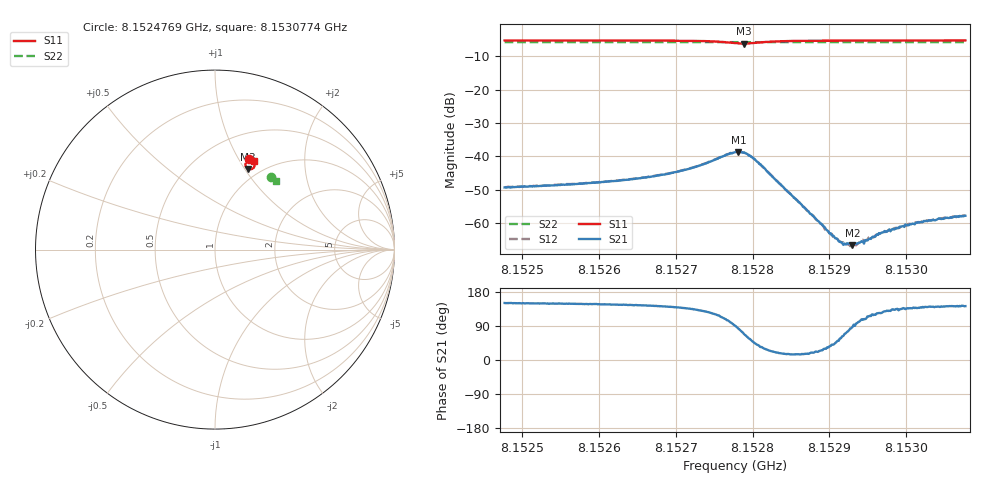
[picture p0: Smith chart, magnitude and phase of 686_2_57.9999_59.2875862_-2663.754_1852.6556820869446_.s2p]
#  HZ  S  RI  R  50.00
! Rohde & Schwarz Vector Network Analyzer
! Rohde-Schwarz,ZNB20-2Port,1311601062101988,3.16
! Created: UTC 3/21/2024, 1:21:04 AM
! freq[Hz]  re:S11  im:S11  re:S21  im:S21  re:S12  im:S12  re:S22  im:S22
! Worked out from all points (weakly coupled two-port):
!   401 points, 8.1524769 GHz to 8.1530774 GHz, reference 50 ohm
!   highest |S21| = -38.62 dB at 8.1527816 GHz (marker M1); lowest = -66.6 dB at 8.1529302 GHz (marker M2)
!   lowest |S11| = -6.3 dB at 8.1527891 GHz (marker M3), VSWR 2.89, Z = 44 + j51.8 ohm
!   |S11| at or under -10 dB: nowhere
!   |S22| runs from -5.9 to -5.8 dB; largest |S21 - S12| = 0.00039
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8.1524769e9  0.1894 0.5063  -0.003 0.00171  -0.00299 0.00176  0.31 0.4065
8.15257748e9  0.1984 0.5027  -0.00333 0.00207  -0.00332 0.00213  0.3152 0.4024
8.15263752e9  0.2047 0.4994  -0.00368 0.00259  -0.00369 0.00264  0.3181 0.3998
8.15267805e9  0.2098 0.4959  -0.00412 0.00319  -0.00411 0.0033  0.3201 0.3981
8.15272309e9  0.2176 0.4871  -0.00473 0.00495  -0.0047 0.00504  0.3224 0.3958
8.15277713e9  0.2051 0.4491  -0.000119 0.0116  0.000138 0.0116  0.3237 0.3925
8.15278163e9  0.1976 0.4472  0.00148 0.0116  0.00176 0.0116  0.3237 0.3926
8.15278914e9  0.1841 0.4496  0.00433 0.0106  0.00442 0.0105  0.3237 0.3926
8.15279964e9  0.1717 0.4627  0.00631 0.00737  0.00644 0.00725  0.3238 0.3927
8.15281316e9  0.1705 0.4802  0.00596 0.00383  0.00594 0.0037  0.3248 0.3928
8.1528777e9  0.1941 0.4994  0.00125 0.00045  0.00127 0.000415  0.3289 0.3905
8.15290172e9  0.1989 0.4995  0.000567 0.000429  0.000563 0.00041  0.33 0.3895
8.15291523e9  0.2011 0.4993  0.000285 0.000447  0.000275 0.000442  0.3308 0.3889
8.15292424e9  0.2026 0.4991  0.000124 0.00049  9.9e-05 0.000476  0.3313 0.3886
8.15293024e9  0.2035 0.499  2.33e-05 0.000468  5.84e-05 0.000482  0.3315 0.3883
8.15293475e9  0.204 0.4989  -5.38e-05 0.000497  -7.12e-05 0.000465  0.3318 0.388
8.15294075e9  0.2048 0.4987  -0.000131 0.00051  -0.000157 0.00051  0.3322 0.3879
8.15294676e9  0.2057 0.4987  -0.000173 0.000538  -0.000218 0.000509  0.3323 0.3877
8.15296477e9  0.2078 0.4982  -0.000402 0.000595  -0.000399 0.00057  0.3332 0.3867
8.15297828e9  0.2092 0.4979  -0.000521 0.000622  -0.000523 0.000619  0.3339 0.3863
8.1530128e9  0.2126 0.4968  -0.000758 0.000685  -0.00077 0.000702  0.3356 0.3847
8.15307735e9  0.2183 0.495  -0.00103 0.0008  -0.00107 0.000778  0.3385 0.3819
